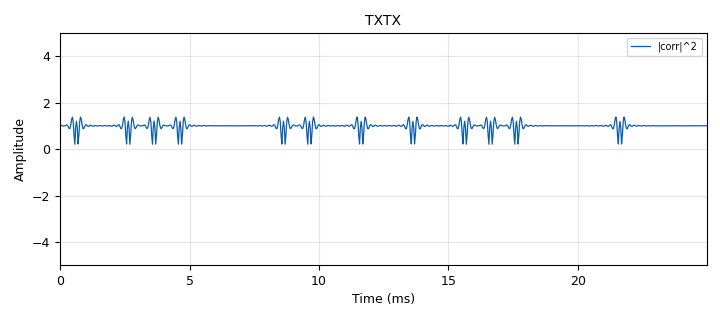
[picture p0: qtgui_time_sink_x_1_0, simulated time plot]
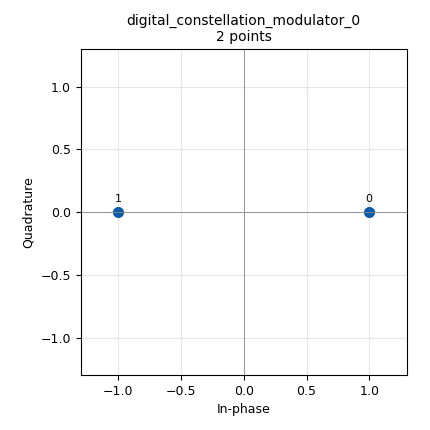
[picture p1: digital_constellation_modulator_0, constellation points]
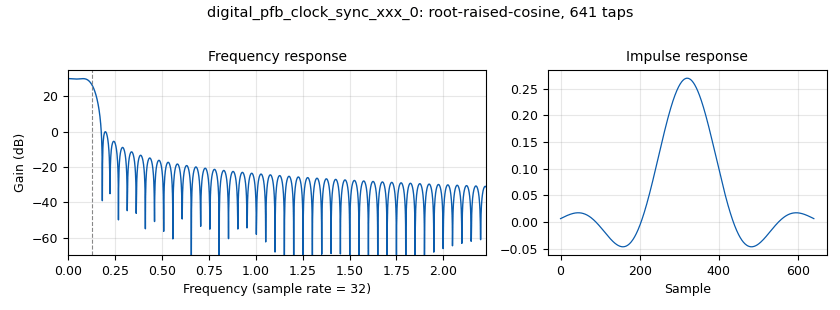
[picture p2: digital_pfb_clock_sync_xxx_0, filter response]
<?xml version='1.0' encoding='utf-8'?>
<?grc format='1' created='3.7.9'?>
<flow_graph>
<block>
<key>options</key>
<param><key>id</key><value>packets_preamble_tagged_fec_softdecoding</value></param>
<param><key>category</key><value>Custom</value></param>
<param><key>generate_options</key><value>qt_gui</value></param>
</block>
<block>
<key>variable</key>
<param><key>id</key><value>bb_filter</value></param>
<param><key>value</key><value>firdes.root_raised_cosine(sps, sps, 1, eb, 101)</value></param>
</block>
<block>
<key>variable_constellation</key>
<param><key>id</key><value>constel</value></param>
<param><key>const_points</key><value>[1,- 1]</value></param>
<param><key>dims</key><value>1</value></param>
<param><key>rot_sym</key><value>2</value></param>
<param><key>precision</key><value>8</value></param>
<param><key>sym_map</key><value>[0,1]</value></param>
</block>
<block>
<key>variable_constellation</key>
<param><key>id</key><value>constel</value></param>
<param><key>const_points</key><value>digital.psk_4()[0]</value></param>
<param><key>dims</key><value>1</value></param>
<param><key>_enabled</key><value>0</value></param>
<param><key>rot_sym</key><value>4</value></param>
<param><key>soft_dec_lut</key><value>'auto'</value></param>
<param><key>precision</key><value>8</value></param>
<param><key>sym_map</key><value>digital.psk_4()[1]</value></param>
</block>
<block>
<key>variable_cc_decoder_def</key>
<param><key>id</key><value>dec_cc</value></param>
<param><key>padding</key><value>False</value></param>
<param><key>k</key><value>7</value></param>
<param><key>dim1</key><value>1</value></param>
<param><key>state_end</key><value>-1</value></param>
<param><key>framebits</key><value>64*8</value></param>
<param><key>ndim</key><value>1</value></param>
<param><key>polys</key><value>[79,109]</value></param>
<param><key>rate</key><value>2</value></param>
<param><key>state_start</key><value>0</value></param>
<param><key>mode</key><value>fec.CC_STREAMING</value></param>
</block>
<block>
<key>variable_qtgui_range</key>
<param><key>id</key><value>delay</value></param>
<param><key>value</key><value>90</value></param>
<param><key>gui_hint</key><value>5,0,1,2</value></param>
<param><key>label</key><value>delay</value></param>
<param><key>orient</key><value>Qt.Horizontal</value></param>
<param><key>start</key><value>0</value></param>
<param><key>step</key><value>1</value></param>
<param><key>stop</key><value>200</value></param>
</block>
<block>
<key>variable</key>
<param><key>id</key><value>eb</value></param>
<param><key>value</key><value>0.35</value></param>
</block>
<block>
<key>variable_cc_encoder_def</key>
<param><key>id</key><value>enc_cc</value></param>
<param><key>padding</key><value>False</value></param>
<param><key>k</key><value>7</value></param>
<param><key>dim1</key><value>1</value></param>
<param><key>framebits</key><value>64*8</value></param>
<param><key>ndim</key><value>1</value></param>
<param><key>polys</key><value>[79,109]</value></param>
<param><key>rate</key><value>2</value></param>
<param><key>state_start</key><value>0</value></param>
<param><key>mode</key><value>fec.CC_STREAMING</value></param>
</block>
<block>
<key>variable_qtgui_range</key>
<param><key>id</key><value>freq_offset</value></param>
<param><key>value</key><value>0</value></param>
<param><key>gui_hint</key><value>4,0,1,1</value></param>
<param><key>label</key><value>Frequency Offset</value></param>
<param><key>orient</key><value>Qt.Horizontal</value></param>
<param><key>start</key><value>-0.001</value></param>
<param><key>step</key><value>0.00002</value></param>
<param><key>stop</key><value>0.001</value></param>
<param><key>widget</key><value>slider</value></param>
</block>
<block>
<key>variable</key>
<param><key>id</key><value>gap</value></param>
<param><key>value</key><value>20000</value></param>
</block>
<block>
<key>variable</key>
<param><key>id</key><value>matched_filter</value></param>
<param><key>value</key><value>firdes.root_raised_cosine(nfilts, nfilts, 1, eb, int(11*sps*nfilts))</value></param>
</block>
<block>
<key>variable</key>
<param><key>id</key><value>nfilts</value></param>
<param><key>value</key><value>32</value></param>
</block>
<block>
<key>variable_qtgui_range</key>
<param><key>id</key><value>noise</value></param>
<param><key>value</key><value>0</value></param>
<param><key>gui_hint</key><value>3,0,1,1</value></param>
<param><key>label</key><value>Noise</value></param>
<param><key>orient</key><value>Qt.Horizontal</value></param>
<param><key>start</key><value>0</value></param>
<param><key>step</key><value>0.005</value></param>
<param><key>stop</key><value>1</value></param>
<param><key>widget</key><value>slider</value></param>
</block>
<block>
<key>variable</key>
<param><key>id</key><value>payload_size</value></param>
<param><key>value</key><value>64</value></param>
</block>
<block>
<key>variable_qtgui_range</key>
<param><key>id</key><value>phase</value></param>
<param><key>value</key><value>0</value></param>
<param><key>gui_hint</key><value>3,1,1,1</value></param>
<param><key>label</key><value>Phase offset</value></param>
<param><key>orient</key><value>Qt.Horizontal</value></param>
<param><key>start</key><value>-2*scipy.pi</value></param>
<param><key>step</key><value>0.1</value></param>
<param><key>stop</key><value>2*scipy.pi</value></param>
<param><key>widget</key><value>slider</value></param>
</block>
<block>
<key>variable</key>
<param><key>id</key><value>preamble</value></param>
<param><key>value</key><value>[1,-1,1,-1,1,1,-1,-1,1,1,-1,1,1,1,-1,1,1,-1,1,-1,-1,1,-1,-1,1,1,1,-1,-1,-1,1,-1,1,1,1,1,-1,-1,1,-1,1,-1,-1,-1,1,1,-1,-1,-1,-1,1,-1,-1,-1,-1,-1,1,1,1,1,1,1,-1,-1]</value></param>
</block>
<block>
<key>variable</key>
<param><key>id</key><value>rrc_taps</value></param>
<param><key>value</key><value>firdes.root_raised_cosine(nfilts, nfilts, 1.0/float(sps), eb, 5*sps*nfilts)</value></param>
</block>
<block>
<key>variable</key>
<param><key>id</key><value>samp_rate</value></param>
<param><key>value</key><value>32000</value></param>
</block>
<block>
<key>variable</key>
<param><key>id</key><value>sps</value></param>
<param><key>value</key><value>4</value></param>
</block>
<block>
<key>variable_qtgui_range</key>
<param><key>id</key><value>time_offset</value></param>
<param><key>value</key><value>1</value></param>
<param><key>gui_hint</key><value>4,1,1,1</value></param>
<param><key>label</key><value>Timing Offset</value></param>
<param><key>orient</key><value>Qt.Horizontal</value></param>
<param><key>start</key><value>0.995</value></param>
<param><key>step</key><value>0.00001</value></param>
<param><key>stop</key><value>1.005</value></param>
<param><key>widget</key><value>slider</value></param>
</block>
<block>
<key>analog_random_source_x</key>
<param><key>id</key><value>analog_random_source_x_0</value></param>
<param><key>max</key><value>256</value></param>
<param><key>min</key><value>0</value></param>
<param><key>num_samps</key><value>1000</value></param>
<param><key>type</key><value>byte</value></param>
<param><key>repeat</key><value>True</value></param>
</block>
<block>
<key>blocks_char_to_float</key>
<param><key>id</key><value>blocks_char_to_float_0</value></param>
<param><key>scale</key><value>1</value></param>
</block>
<block>
<key>blocks_char_to_float</key>
<param><key>id</key><value>blocks_char_to_float_0_0</value></param>
<param><key>scale</key><value>1</value></param>
</block>
<block>
<key>blocks_char_to_float</key>
<param><key>id</key><value>blocks_char_to_float_1</value></param>
<param><key>_enabled</key><value>0</value></param>
<param><key>scale</key><value>1</value></param>
</block>
<block>
<key>blocks_complex_to_float</key>
<param><key>id</key><value>blocks_complex_to_float_0</value></param>
<param><key>_enabled</key><value>0</value></param>
</block>
<block>
<key>blocks_complex_to_mag</key>
<param><key>id</key><value>blocks_complex_to_mag_0</value></param>
</block>
<block>
<key>blocks_complex_to_mag</key>
<param><key>id</key><value>blocks_complex_to_mag_0_0</value></param>
</block>
<block>
<key>blocks_delay</key>
<param><key>id</key><value>blocks_delay_0</value></param>
<param><key>delay</key><value>int(delay)</value></param>
<param><key>type</key><value>float</value></param>
</block>
<block>
<key>blocks_float_to_char</key>
<param><key>id</key><value>blocks_float_to_char_0</value></param>
<param><key>scale</key><value>1</value></param>
</block>
<block>
<key>blocks_null_source</key>
<param><key>id</key><value>blocks_null_source_0</value></param>
<param><key>bus_conns</key><value>[[0,],]</value></param>
<param><key>type</key><value>byte</value></param>
</block>
<block>
<key>blocks_pack_k_bits_bb</key>
<param><key>id</key><value>blocks_pack_k_bits_bb_0</value></param>
<param><key>k</key><value>8</value></param>
</block>
<block>
<key>blocks_stream_mux</key>
<param><key>id</key><value>blocks_stream_mux_0</value></param>
<param><key>lengths</key><value>(len(preamble)/8+payload_size), gap/sps/8</value></param>
<param><key>type</key><value>byte</value></param>
</block>
<block>
<key>blocks_stream_to_tagged_stream</key>
<param><key>id</key><value>blocks_stream_to_tagged_stream_0</value></param>
<param><key>len_tag_key</key><value>"START_PACKET"</value></param>
<param><key>packet_len</key><value>len(preamble)/8</value></param>
<param><key>type</key><value>byte</value></param>
</block>
<block>
<key>blocks_stream_to_tagged_stream</key>
<param><key>id</key><value>blocks_stream_to_tagged_stream_0_0</value></param>
<param><key>len_tag_key</key><value>"START_PACKET"</value></param>
<param><key>packet_len</key><value>payload_size</value></param>
<param><key>type</key><value>byte</value></param>
</block>
<block>
<key>blocks_sub_xx</key>
<param><key>id</key><value>blocks_sub_xx_0</value></param>
<param><key>type</key><value>float</value></param>
</block>
<block>
<key>blocks_tagged_stream_mux</key>
<param><key>id</key><value>blocks_tagged_stream_mux_0</value></param>
<param><key>type</key><value>byte</value></param>
<param><key>lengthtagname</key><value>START_PACKET</value></param>
<param><key>ninputs</key><value>2</value></param>
</block>
<block>
<key>blocks_throttle</key>
<param><key>id</key><value>blocks_throttle_0</value></param>
<param><key>samples_per_second</key><value>samp_rate/10</value></param>
<param><key>type</key><value>complex</value></param>
</block>
<block>
<key>blocks_unpack_k_bits_bb</key>
<param><key>id</key><value>blocks_unpack_k_bits_bb_0</value></param>
<param><key>k</key><value>8</value></param>
</block>
<block>
<key>blocks_vector_source_x</key>
<param><key>id</key><value>blocks_vector_source_x_0_0</value></param>
<param><key>type</key><value>byte</value></param>
<param><key>repeat</key><value>True</value></param>
<param><key>vector</key><value>map(lambda x: (-x+1)/2, preamble)</value></param>
</block>
<block>
<key>channels_channel_model</key>
<param><key>id</key><value>channels_channel_model_0</value></param>
<param><key>epsilon</key><value>time_offset</value></param>
<param><key>freq_offset</key><value>freq_offset</value></param>
<param><key>noise_voltage</key><value>noise</value></param>
<param><key>seed</key><value>0</value></param>
<param><key>taps</key><value>1.0</value></param>
</block>
<block>
<key>digital_constellation_decoder_cb</key>
<param><key>id</key><value>digital_constellation_decoder_cb_0</value></param>
<param><key>constellation</key><value>constel</value></param>
<param><key>_enabled</key><value>0</value></param>
</block>
<block>
<key>digital_constellation_modulator</key>
<param><key>id</key><value>digital_constellation_modulator_0</value></param>
<param><key>constellation</key><value>constel</value></param>
<param><key>differential</key><value>False</value></param>
<param><key>excess_bw</key><value>eb</value></param>
<param><key>samples_per_symbol</key><value>sps</value></param>
</block>
<block>
<key>digital_constellation_soft_decoder_cf</key>
<param><key>id</key><value>digital_constellation_soft_decoder_cf_0</value></param>
<param><key>constellation</key><value>constel</value></param>
</block>
<block>
<key>digital_correlate_and_sync_cc</key>
<param><key>id</key><value>digital_correlate_and_sync_cc_0</value></param>
<param><key>filter</key><value>matched_filter</value></param>
<param><key>sps</key><value>sps</value></param>
<param><key>symbols</key><value>preamble</value></param>
</block>
<block>
<key>digital_costas_loop_cc</key>
<param><key>id</key><value>digital_costas_loop_cc_0</value></param>
<param><key>w</key><value>1*3.14/50.0</value></param>
<param><key>order</key><value>2</value></param>
</block>
<block>
<key>digital_pfb_clock_sync_xxx</key>
<param><key>id</key><value>digital_pfb_clock_sync_xxx_0</value></param>
<param><key>filter_size</key><value>nfilts</value></param>
<param><key>init_phase</key><value>0</value></param>
<param><key>loop_bw</key><value>2*3.14/100.0</value></param>
<param><key>max_dev</key><value>0.5</value></param>
<param><key>osps</key><value>1</value></param>
<param><key>sps</key><value>sps</value></param>
<param><key>taps</key><value>rrc_taps</value></param>
<param><key>type</key><value>ccf</value></param>
</block>
<block>
<key>fec_extended_tagged_decoder</key>
<param><key>id</key><value>fec_ext_dec_tagged</value></param>
<param><key>decoder_list</key><value>dec_cc</value></param>
<param><key>_enabled</key><value>0</value></param>
<param><key>lentagname</key><value>START_PACKET</value></param>
<param><key>mtu</key><value>1500</value></param>
<param><key>puncpat</key><value>'11'</value></param>
</block>
<block>
<key>fec_extended_tagged_encoder</key>
<param><key>id</key><value>fec_extended_tagged_encoder_1</value></param>
<param><key>encoder_list</key><value>enc_cc</value></param>
<param><key>lentagname</key><value>START_PACKET</value></param>
<param><key>mtu</key><value>1500</value></param>
<param><key>puncpat</key><value>'11'</value></param>
</block>
<block>
<key>fec_generic_decoder</key>
<param><key>id</key><value>fec_generic_decoder_0</value></param>
<param><key>decoder</key><value>dec_cc</value></param>
<param><key>itype</key><value>float</value></param>
<param><key>otype</key><value>float</value></param>
</block>
<block>
<key>import</key>
<param><key>id</key><value>import_0</value></param>
<param><key>import</key><value>import scipy</value></param>
</block>
<block>
<key>qtgui_const_sink_x</key>
<param><key>id</key><value>qtgui_const_sink_x_0</value></param>
<param><key>gui_hint</key><value>0,1,1,1</value></param>
<param><key>name</key><value>DOWNCOVERTED_CONSTELLATION</value></param>
<param><key>size</key><value>256</value></param>
<param><key>tr_level</key><value>0</value></param>
<param><key>tr_mode</key><value>qtgui.TRIG_MODE_TAG</value></param>
<param><key>tr_tag</key><value>time_est</value></param>
<param><key>type</key><value>complex</value></param>
</block>
<block>
<key>qtgui_time_sink_x</key>
<param><key>id</key><value>qtgui_time_sink_x_0</value></param>
<param><key>affinity</key><value>0</value></param>
<param><key>gui_hint</key><value>0,0,1,1</value></param>
<param><key>color1</key><value>"blue"</value></param>
<param><key>label1</key><value></value></param>
<param><key>color2</key><value>"red"</value></param>
<param><key>label2</key><value></value></param>
<param><key>name</key><value>DOWNCONVERTED_TIME</value></param>
<param><key>size</key><value>5000</value></param>
<param><key>srate</key><value>samp_rate</value></param>
<param><key>tr_delay</key><value>0.1</value></param>
<param><key>tr_level</key><value>1</value></param>
<param><key>tr_mode</key><value>qtgui.TRIG_MODE_TAG</value></param>
<param><key>tr_tag</key><value>time_est</value></param>
<param><key>type</key><value>complex</value></param>
<param><key>ymax</key><value>2</value></param>
<param><key>ymin</key><value>-2</value></param>
</block>
<block>
<key>qtgui_time_sink_x</key>
<param><key>id</key><value>qtgui_time_sink_x_0_1</value></param>
<param><key>gui_hint</key><value>2,0,1,2</value></param>
<param><key>color1</key><value>"blue"</value></param>
<param><key>label1</key><value></value></param>
<param><key>color2</key><value>"red"</value></param>
<param><key>label2</key><value></value></param>
<param><key>color3</key><value>"green"</value></param>
<param><key>label3</key><value></value></param>
<param><key>name</key><value>DEMOD_CONST</value></param>
<param><key>nconnections</key><value>3</value></param>
<param><key>size</key><value>2000</value></param>
<param><key>srate</key><value>samp_rate</value></param>
<param><key>tr_delay</key><value>0.010</value></param>
<param><key>tr_tag</key><value>time_est</value></param>
<param><key>type</key><value>float</value></param>
<param><key>ymax</key><value>2</value></param>
<param><key>ymin</key><value>-2</value></param>
</block>
<block>
<key>qtgui_time_sink_x</key>
<param><key>id</key><value>qtgui_time_sink_x_1</value></param>
<param><key>gui_hint</key><value>10,0,1,2</value></param>
<param><key>color1</key><value>"blue"</value></param>
<param><key>label1</key><value>|corr|^2</value></param>
<param><key>style1</key><value>2</value></param>
<param><key>name</key><value>CORR_AND_SYNC</value></param>
<param><key>size</key><value>8000</value></param>
<param><key>srate</key><value>samp_rate</value></param>
<param><key>tr_level</key><value>200</value></param>
<param><key>tr_mode</key><value>qtgui.TRIG_MODE_NORM</value></param>
<param><key>type</key><value>float</value></param>
<param><key>ymax</key><value>400</value></param>
<param><key>ymin</key><value>-200</value></param>
</block>
<block>
<key>qtgui_time_sink_x</key>
<param><key>id</key><value>qtgui_time_sink_x_1_0</value></param>
<param><key>gui_hint</key><value>1,0,1,2</value></param>
<param><key>color1</key><value>"blue"</value></param>
<param><key>label1</key><value>|corr|^2</value></param>
<param><key>name</key><value>TXTX</value></param>
<param><key>size</key><value>800</value></param>
<param><key>srate</key><value>samp_rate</value></param>
<param><key>tr_level</key><value>0</value></param>
<param><key>type</key><value>float</value></param>
<param><key>ymax</key><value>5</value></param>
<param><key>ymin</key><value>-5</value></param>
</block>
<block>
<key>qtgui_time_sink_x</key>
<param><key>id</key><value>qtgui_time_sink_x_1_0_0</value></param>
<param><key>color1</key><value>"blue"</value></param>
<param><key>label1</key><value>|corr|^2</value></param>
<param><key>name</key><value>After Soft Constellation Decoder</value></param>
<param><key>size</key><value>800</value></param>
<param><key>srate</key><value>samp_rate</value></param>
<param><key>tr_level</key><value>0</value></param>
<param><key>type</key><value>float</value></param>
<param><key>ymax</key><value>5</value></param>
<param><key>ymin</key><value>-5</value></param>
</block>
<block>
<key>qtgui_time_sink_x</key>
<param><key>id</key><value>qtgui_time_sink_x_1_0_0_1</value></param>
<param><key>_enabled</key><value>0</value></param>
<param><key>color1</key><value>"blue"</value></param>
<param><key>label1</key><value>|corr|^2</value></param>
<param><key>name</key><value>After Constellation Decoder</value></param>
<param><key>size</key><value>800</value></param>
<param><key>srate</key><value>samp_rate</value></param>
<param><key>tr_level</key><value>0</value></param>
<param><key>type</key><value>float</value></param>
<param><key>ymax</key><value>5</value></param>
<param><key>ymin</key><value>-5</value></param>
</block>
<block>
<key>qtgui_time_sink_x</key>
<param><key>id</key><value>qtgui_time_sink_x_1_0_0_1_0</value></param>
<param><key>entags</key><value>False</value></param>
<param><key>color1</key><value>"blue"</value></param>
<param><key>label1</key><value>|corr|^2</value></param>
<param><key>name</key><value>TEST</value></param>
<param><key>size</key><value>800</value></param>
<param><key>srate</key><value>samp_rate</value></param>
<param><key>tr_level</key><value>0</value></param>
<param><key>type</key><value>float</value></param>
<param><key>ymax</key><value>5</value></param>
<param><key>ymin</key><value>-5</value></param>
</block>
<connection><source_block_id>analog_random_source_x_0</source_block_id><sink_block_id>blocks_stream_to_tagged_stream_0_0</sink_block_id><source_key>0</source_key><sink_key>0</sink_key></connection>
<connection><source_block_id>blocks_char_to_float_0</source_block_id><sink_block_id>blocks_delay_0</sink_block_id><source_key>0</source_key><sink_key>0</sink_key></connection>
<connection><source_block_id>blocks_char_to_float_0_0</source_block_id><sink_block_id>blocks_sub_xx_0</sink_block_id><source_key>0</source_key><sink_key>0</sink_key></connection>
<connection><source_block_id>blocks_char_to_float_0_0</source_block_id><sink_block_id>qtgui_time_sink_x_0_1</sink_block_id><source_key>0</source_key><sink_key>0</sink_key></connection>
<connection><source_block_id>blocks_char_to_float_1</source_block_id><sink_block_id>qtgui_time_sink_x_1_0_0_1</sink_block_id><source_key>0</source_key><sink_key>0</sink_key></connection>
<connection><source_block_id>blocks_complex_to_mag_0</source_block_id><sink_block_id>qtgui_time_sink_x_1</sink_block_id><source_key>0</source_key><sink_key>0</sink_key></connection>
<connection><source_block_id>blocks_complex_to_mag_0_0</source_block_id><sink_block_id>qtgui_time_sink_x_1_0</sink_block_id><source_key>0</source_key><sink_key>0</sink_key></connection>
<connection><source_block_id>blocks_delay_0</source_block_id><sink_block_id>blocks_sub_xx_0</sink_block_id><source_key>0</source_key><sink_key>1</sink_key></connection>
<connection><source_block_id>blocks_delay_0</source_block_id><sink_block_id>qtgui_time_sink_x_0_1</sink_block_id><source_key>0</source_key><sink_key>1</sink_key></connection>
<connection><source_block_id>blocks_float_to_char_0</source_block_id><sink_block_id>blocks_char_to_float_0_0</sink_block_id><source_key>0</source_key><sink_key>0</sink_key></connection>
<connection><source_block_id>blocks_null_source_0</source_block_id><sink_block_id>blocks_stream_mux_0</sink_block_id><source_key>0</source_key><sink_key>1</sink_key></connection>
<connection><source_block_id>blocks_pack_k_bits_bb_0</source_block_id><sink_block_id>blocks_stream_to_tagged_stream_0</sink_block_id><source_key>0</source_key><sink_key>0</sink_key></connection>
<connection><source_block_id>blocks_stream_mux_0</source_block_id><sink_block_id>blocks_unpack_k_bits_bb_0</sink_block_id><source_key>0</source_key><sink_key>0</sink_key></connection>
<connection><source_block_id>blocks_stream_to_tagged_stream_0</source_block_id><sink_block_id>blocks_tagged_stream_mux_0</sink_block_id><source_key>0</source_key><sink_key>0</sink_key></connection>
<connection><source_block_id>blocks_stream_to_tagged_stream_0_0</source_block_id><sink_block_id>blocks_stream_mux_0</sink_block_id><source_key>0</source_key><sink_key>0</sink_key></connection>
<connection><source_block_id>blocks_stream_to_tagged_stream_0_0</source_block_id><sink_block_id>fec_extended_tagged_encoder_1</sink_block_id><source_key>0</source_key><sink_key>0</sink_key></connection>
<connection><source_block_id>blocks_sub_xx_0</source_block_id><sink_block_id>qtgui_time_sink_x_0_1</sink_block_id><source_key>0</source_key><sink_key>2</sink_key></connection>
<connection><source_block_id>blocks_tagged_stream_mux_0</source_block_id><sink_block_id>digital_constellation_modulator_0</sink_block_id><source_key>0</source_key><sink_key>0</sink_key></connection>
<connection><source_block_id>blocks_throttle_0</source_block_id><sink_block_id>channels_channel_model_0</sink_block_id><source_key>0</source_key><sink_key>0</sink_key></connection>
<connection><source_block_id>blocks_unpack_k_bits_bb_0</source_block_id><sink_block_id>blocks_char_to_float_0</sink_block_id><source_key>0</source_key><sink_key>0</sink_key></connection>
<connection><source_block_id>blocks_vector_source_x_0_0</source_block_id><sink_block_id>blocks_pack_k_bits_bb_0</sink_block_id><source_key>0</source_key><sink_key>0</sink_key></connection>
<connection><source_block_id>channels_channel_model_0</source_block_id><sink_block_id>digital_correlate_and_sync_cc_0</sink_block_id><source_key>0</source_key><sink_key>0</sink_key></connection>
<connection><source_block_id>digital_constellation_decoder_cb_0</source_block_id><sink_block_id>blocks_char_to_float_1</sink_block_id><source_key>0</source_key><sink_key>0</sink_key></connection>
<connection><source_block_id>digital_constellation_modulator_0</source_block_id><sink_block_id>blocks_complex_to_mag_0_0</sink_block_id><source_key>0</source_key><sink_key>0</sink_key></connection>
<connection><source_block_id>digital_constellation_modulator_0</source_block_id><sink_block_id>blocks_throttle_0</sink_block_id><source_key>0</source_key><sink_key>0</sink_key></connection>
<connection><source_block_id>digital_constellation_soft_decoder_cf_0</source_block_id><sink_block_id>fec_ext_dec_tagged</sink_block_id><source_key>0</source_key><sink_key>0</sink_key></connection>
<connection><source_block_id>digital_constellation_soft_decoder_cf_0</source_block_id><sink_block_id>fec_generic_decoder_0</sink_block_id><source_key>0</source_key><sink_key>0</sink_key></connection>
<connection><source_block_id>digital_constellation_soft_decoder_cf_0</source_block_id><sink_block_id>qtgui_time_sink_x_1_0_0</sink_block_id><source_key>0</source_key><sink_key>0</sink_key></connection>
<connection><source_block_id>digital_correlate_and_sync_cc_0</source_block_id><sink_block_id>blocks_complex_to_float_0</sink_block_id><source_key>1</source_key><sink_key>0</sink_key></connection>
<connection><source_block_id>digital_correlate_and_sync_cc_0</source_block_id><sink_block_id>blocks_complex_to_mag_0</sink_block_id><source_key>1</source_key><sink_key>0</sink_key></connection>
<connection><source_block_id>digital_correlate_and_sync_cc_0</source_block_id><sink_block_id>digital_pfb_clock_sync_xxx_0</sink_block_id><source_key>0</source_key><sink_key>0</sink_key></connection>
<connection><source_block_id>digital_costas_loop_cc_0</source_block_id><sink_block_id>digital_constellation_decoder_cb_0</sink_block_id><source_key>0</source_key><sink_key>0</sink_key></connection>
<connection><source_block_id>digital_costas_loop_cc_0</source_block_id><sink_block_id>digital_constellation_soft_decoder_cf_0</sink_block_id><source_key>0</source_key><sink_key>0</sink_key></connection>
<connection><source_block_id>digital_costas_loop_cc_0</source_block_id><sink_block_id>qtgui_const_sink_x_0</sink_block_id><source_key>0</source_key><sink_key>0</sink_key></connection>
<connection><source_block_id>digital_costas_loop_cc_0</source_block_id><sink_block_id>qtgui_time_sink_x_0</sink_block_id><source_key>0</source_key><sink_key>0</sink_key></connection>
<connection><source_block_id>digital_pfb_clock_sync_xxx_0</source_block_id><sink_block_id>digital_costas_loop_cc_0</sink_block_id><source_key>0</source_key><sink_key>0</sink_key></connection>
<connection><source_block_id>fec_ext_dec_tagged</source_block_id><sink_block_id>blocks_char_to_float_0_0</sink_block_id><source_key>0</source_key><sink_key>0</sink_key></connection>
<connection><source_block_id>fec_extended_tagged_encoder_1</source_block_id><sink_block_id>blocks_tagged_stream_mux_0</sink_block_id><source_key>0</source_key><sink_key>1</sink_key></connection>
<connection><source_block_id>fec_generic_decoder_0</source_block_id><sink_block_id>blocks_float_to_char_0</sink_block_id><source_key>0</source_key><sink_key>0</sink_key></connection>
<connection><source_block_id>fec_generic_decoder_0</source_block_id><sink_block_id>fec_ext_dec_tagged</sink_block_id><source_key>0</source_key><sink_key>0</sink_key></connection>
<connection><source_block_id>fec_generic_decoder_0</source_block_id><sink_block_id>qtgui_time_sink_x_1_0_0_1_0</sink_block_id><source_key>0</source_key><sink_key>0</sink_key></connection>
</flow_graph>
